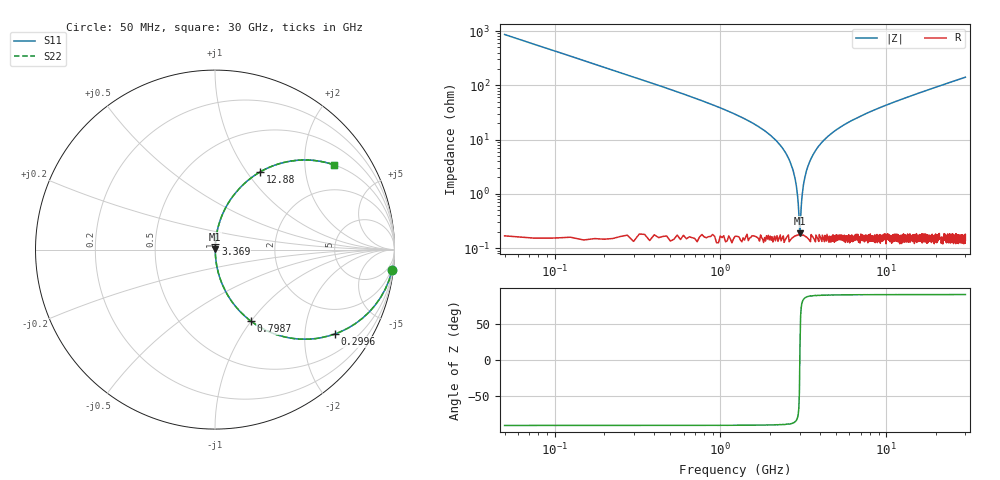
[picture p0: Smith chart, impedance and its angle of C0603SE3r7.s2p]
!	AVX Thin Film Operation 	Date: April 2014
!	Description: Accu-P® Series, Thin Film  SMD RF Capacitor
!	Part Number: 06031J3R7ABSTR
# MHZ S MA R 50
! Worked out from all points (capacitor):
!   1201 points, 50 MHz to 30 GHz, reference 50 ohm
!   read as one part in series: C = 3.7 pF near 199.8 MHz
!   lowest |Z| = 188 mohm at 3.02 GHz (marker M1)
!   series resonance near 3.013 GHz, so ESL is about 750 pH
!   S11 on the Smith chart (normalised r, x): 50 MHz: 1, -17; 299.6 MHz: 1.00, -2.84; 798.8 MHz: 1.00, -1.00; 3.369 GHz: 1.00, +0.06; 12.88 GHz: 1.00, +1.15; 30 GHz: 1.00, +2.82
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50  0.993 -6.6  0.115 83.4  0.115 83.4  0.993 -6.6
299.583  0.818 -35.1  0.575 54.8  0.575 54.8  0.818 -35.1
549.167  0.603 -52.8  0.796 37.1  0.796 37.1  0.603 -52.8
798.75  0.447 -63.3  0.893 26.6  0.893 26.6  0.447 -63.3
1372.792  0.241 -75.7  0.969 13.9  0.969 13.9  0.241 -75.7
2396.083  0.066 -84.9  0.996 3.8  0.996 3.8  0.066 -84.9
2695.583  0.032 -85.4  0.998 1.8  0.998 1.8  0.032 -85.4
2795.417  0.021 -84.7  0.998 1.2  0.998 1.2  0.021 -84.7
2920.208  0.009043 -79.8  0.998 0.5  0.998 0.5  0.009043 -79.8
3020.042  0.001659 23.8  0.998 -0.0  0.998 -0.0  0.001659 23.8
3119.875  0.01 80.8  0.998 -0.6  0.998 -0.6  0.01 80.8
3244.667  0.021 84.7  0.998 -1.2  0.998 -1.2  0.021 84.7
3369.458  0.032 85.5  0.998 -1.8  0.998 -1.8  0.032 85.5
3968.458  0.079 84.4  0.995 -4.5  0.995 -4.5  0.079 84.4
5041.667  0.152 80.7  0.987 -8.7  0.987 -8.7  0.152 80.7
7013.375  0.261 74.5  0.964 -15.1  0.964 -15.1  0.261 74.5
10058.29  0.397 66.4  0.916 -23.4  0.916 -23.4  0.397 66.4
12878.58  0.499 59.9  0.865 -29.9  0.865 -29.9  0.499 59.9
15025  0.564 55.6  0.825 -34.3  0.825 -34.3  0.564 55.6
20016.67  0.679 47.1  0.733 -42.8  0.733 -42.8  0.679 47.1
25033.29  0.759 40.5  0.65 -49.4  0.65 -49.4  0.759 40.5
30000  0.815 35.4  0.579 -54.6  0.579 -54.6  0.815 35.4
